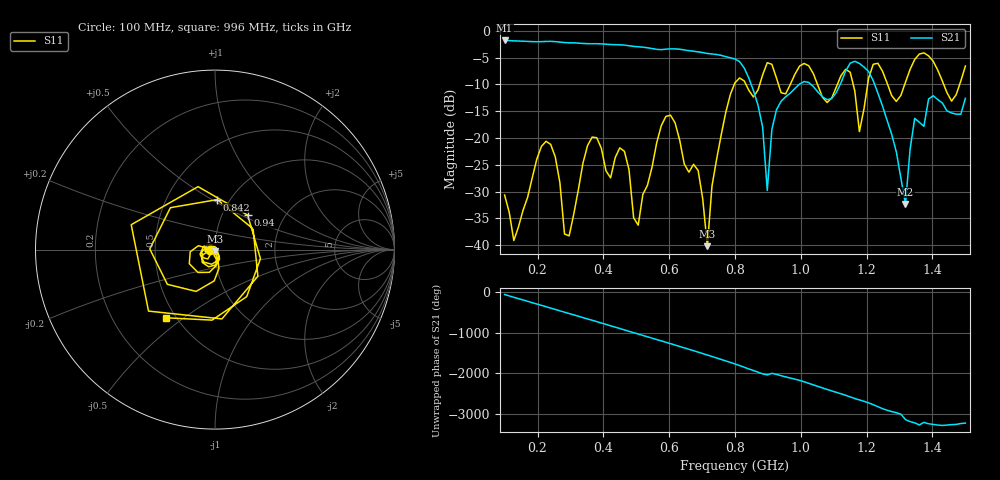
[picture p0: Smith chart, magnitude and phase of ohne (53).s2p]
! NanoVNA-App
! Date: 2025-09-25 14:21:13
! Start: 100MHz Stop: 1,5GHz Points: 101
! S-Parameter data: F S11 S21 S12 S22
# Hz S RI R 50
!  Frequency  S11_Real  S11_Imag  S21_Real  S21_Imag  S12_Real  S12_Imag  S22_Real  S22_Imag
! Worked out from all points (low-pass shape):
!   101 points, 100 MHz to 1.5 GHz, reference 50 ohm
!   highest |S21| = -1.79 dB at 100 MHz (marker M1); lowest = -32.3 dB at 1.318 GHz (marker M2)
!   |S21| within 3 dB of the highest: start of sweep to 770.9 MHz
!   lowest |S11| = -40.2 dB at 716 MHz (marker M3), VSWR 1.02, Z = 49.8 - j0.961 ohm
!   |S11| at or under -10 dB: start of sweep to 797.9 MHz; 833.2 MHz to 875.1 MHz (41.85 MHz wide, 4.9 % of centre); 1.051 GHz to 1.111 GHz (60.34 MHz wide, 5.58 % of centre) (the widest 3 of 7)
!   S12 and S22 are empty: the file has one direction only
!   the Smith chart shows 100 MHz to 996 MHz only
!   S11 on the Smith chart (normalised r, x): 100 MHz: 0.94, -0.01; 842 MHz: 0.88, +0.53; 940 MHz: 1.32, +0.54; 996 MHz: 0.44, -0.43
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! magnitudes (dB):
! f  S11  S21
! 100 MHz  -30.6  -1.8
! 128 MHz  -39.1  -1.9
! 226 MHz  -20.6  -2.0
! 296 MHz  -38.3  -2.2
! 338 MHz  -24.7  -2.3
! 464 MHz  -22.5  -2.7
! 506 MHz  -36.3  -3.0
! 576 MHz  -17.7  -3.5
! 688 MHz  -26.0  -3.9
! 716 MHz  -40.2  -4.2
! 800 MHz  -9.7  -5.2
! 842 MHz  -11.1  -8.8
! 898 MHz  -5.9  -29.8
! 940 MHz  -11.5  -13.2
! 996 MHz  -6.6  -9.9
! 1.038 GHz  -8.0  -10.4
! 1.178 GHz  -18.8  -6.1
! 1.22 GHz  -6.2  -9.3
! 1.276 GHz  -12.1  -19.3
! 1.318 GHz  -9.6  -32.3
! 1.346 GHz  -5.3  -16.3
! 1.5 GHz  -6.6  -12.6
